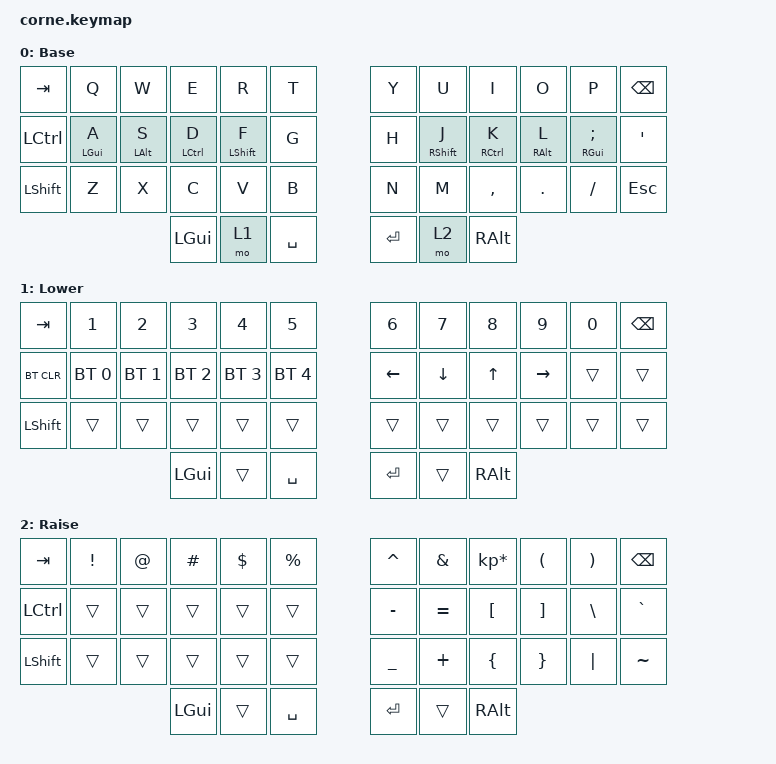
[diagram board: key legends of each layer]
/*
 * Copyright (c) 2020 The ZMK Contributors
 *
 * SPDX-License-Identifier: MIT
 */

#include <behaviors.dtsi>
#include <dt-bindings/zmk/keys.h>
#include <dt-bindings/zmk/bt.h>

/ {
        behaviors {
                hm: homerow_mods {
                        compatible = "zmk,behavior-hold-tap";
                        label = "HOMEROW_MODS";
                        #binding-cells = <2>;
                        tapping-term-ms = <200>;
                        quick-tap-ms = <150>;
                        require-prior-idle-ms = <150>;
                        flavor = "balanced";
                        bindings = <&kp>, <&kp>;
                };
        };

        keymap {
                compatible = "zmk,keymap";

                default_layer {
// -----------------------------------------------------------------------------------------
// |  TAB |  Q  |  W  |  E  |  R  |  T  |   |  Y  |  U   |  I  |  O  |  P  | BKSP |
// | CTRL | GUI | ALT | CTL | SFT |  G  |   |  H  | SFT  | CTL | ALT | GUI |  '   |
// |      |  A  |  S  |  D  |  F  |     |   |     |  J   |  K  |  L  |  ;  |      |
// | SHFT |  Z  |  X  |  C  |  V  |  B  |   |  N  |  M   |  ,  |  .  |  /  | ESC  |
//                    | GUI | LWR | SPC |   | ENT | RSE  | ALT |
                        display-name = "Base";
                        bindings = <
   &kp TAB   &kp Q &kp W &kp E &kp R &kp T   &kp Y &kp U  &kp I     &kp O   &kp P    &kp BSPC
   &kp LCTRL &hm LGUI A &hm LALT S &hm LCTRL D &hm LSHFT F &kp G   &kp H &hm RSHFT J &hm RCTRL K &hm RALT L &hm RGUI SEMI &kp SQT
   &kp LSHFT &kp Z &kp X &kp C &kp V &kp B   &kp N &kp M  &kp COMMA &kp DOT &kp FSLH &kp ESC
                  &kp LGUI &mo 1 &kp SPACE   &kp RET &mo 2 &kp RALT
                        >;
                };
                lower_layer {
// -----------------------------------------------------------------------------------------
// |  TAB |  1  |  2  |  3  |  4  |  5  |   |  6  |  7  |  8  |  9  |  0  | BKSP |
// | BTCLR| BT1 | BT2 | BT3 | BT4 | BT5 |   | LFT | DWN |  UP | RGT |     |      |
// | SHFT |     |     |     |     |     |   |     |     |     |     |     |      |
//                    | GUI |     | SPC |   | ENT |     | ALT |
                        display-name = "Lower";
                        bindings = <
   &kp TAB    &kp N1       &kp N2       &kp N3       &kp N4       &kp N5         &kp N6   &kp N7   &kp N8 &kp N9    &kp N0 &kp BSPC
   &bt BT_CLR &bt BT_SEL 0 &bt BT_SEL 1 &bt BT_SEL 2 &bt BT_SEL 3 &bt BT_SEL 4   &kp LEFT &kp DOWN &kp UP &kp RIGHT &trans &trans
   &kp LSHFT  &trans       &trans       &trans       &trans       &trans         &trans   &trans   &trans &trans    &trans &trans
                          	        &kp LGUI     &trans       &kp SPACE      &kp RET  &trans   &kp RALT
                        >;
                };

                raise_layer {
// -----------------------------------------------------------------------------------------
// |  TAB |  !  |  @  |  #  |  $  |  %  |   |  ^  |  &  |  *  |  (  |  )  | BKSP |
// | CTRL |     |     |     |     |     |   |  -  |  =  |  [  |  ]  |  \  |  `   |
// | SHFT |     |     |     |     |     |   |  _  |  +  |  {  |  }  | "|" |  ~   |
//                    | GUI |     | SPC |   | ENT |     | ALT |
                        display-name = "Raise";
                        bindings = <
   &kp  TAB  &kp EXCL &kp AT &kp HASH &kp DLLR &kp PRCNT   &kp CARET &kp AMPS  &kp KP_MULTIPLY &kp LPAR &kp RPAR &kp BSPC
   &kp LCTRL &trans   &trans &trans   &trans   &trans      &kp MINUS &kp EQUAL &kp LBKT        &kp RBKT &kp BSLH &kp GRAVE
   &kp LSHFT &trans   &trans &trans   &trans   &trans      &kp UNDER &kp PLUS  &kp LBRC        &kp RBRC &kp PIPE &kp TILDE
                    	     &kp LGUI &trans   &kp SPACE   &kp RET   &trans    &kp RALT
                        >;
                };

                extra_1 {
                        status = "reserved";
                };

                extra_2 {
                        status = "reserved";
                };

                extra_3 {
                        status = "reserved";
                };
        };
};
